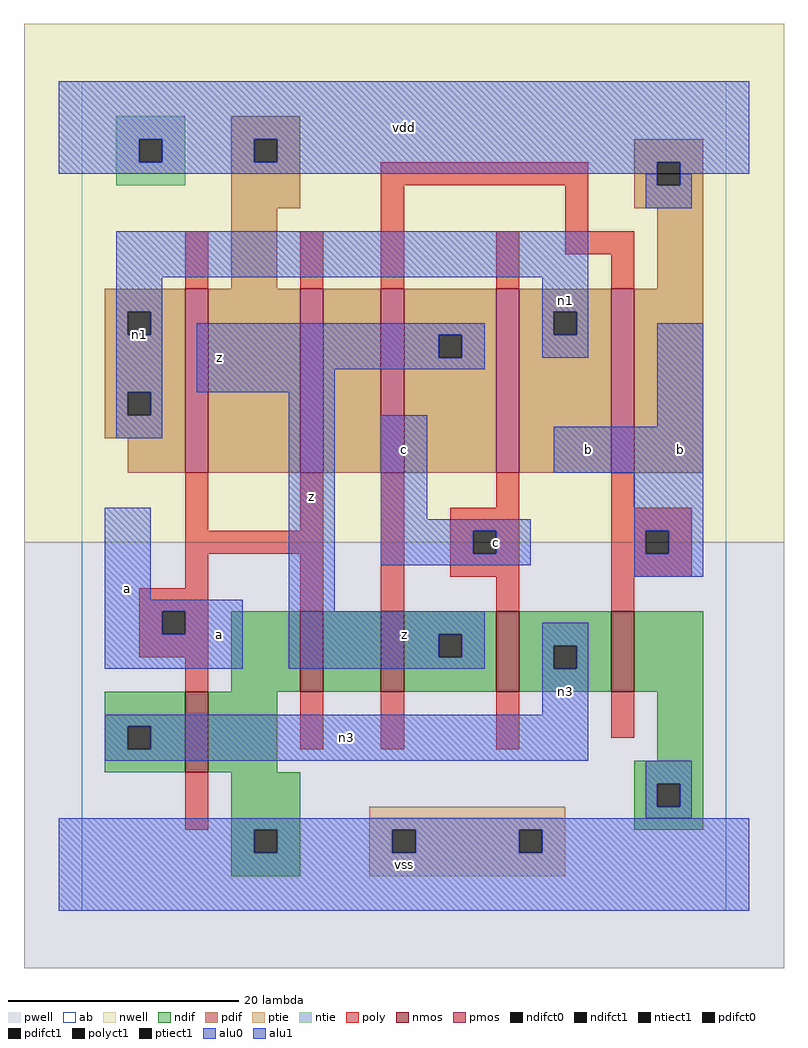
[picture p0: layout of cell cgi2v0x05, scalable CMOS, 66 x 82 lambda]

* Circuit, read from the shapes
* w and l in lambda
.subckt cgi2v0x05 a b c n1 n3 vdd vss z
M1 vss a n3 vss nfet w=7 l=2
M2 n2 a vss vss nfet w=7 l=2
M3 z b n2 vss nfet w=7 l=2
M4 n3 c z vss nfet w=7 l=2
M5 vss b n3 vss nfet w=7 l=2
M6 vdd a n1 vdd pfet w=16 l=2
M7 n4 a vdd vdd pfet w=16 l=2
M8 z b n4 vdd pfet w=16 l=2
M9 n1 c z vdd pfet w=16 l=2
M10 vdd b n1 vdd pfet w=16 l=2
.ends

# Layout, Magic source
magic
tech scmos
<< ab >>
rect 0 0 56 72
<< nwell >>
rect -5 32 61 77
<< pwell >>
rect -5 -5 61 32
<< poly >>
rect 26 63 44 65
rect 9 54 11 59
rect 19 54 21 59
rect 26 54 28 63
rect 42 59 44 63
rect 36 54 38 59
rect 42 57 48 59
rect 46 54 48 57
rect 9 33 11 38
rect 19 33 21 38
rect 9 31 21 33
rect 9 28 11 31
rect 5 26 11 28
rect 19 26 21 31
rect 26 26 28 38
rect 36 35 38 38
rect 32 33 38 35
rect 32 31 34 33
rect 36 31 38 33
rect 32 29 38 31
rect 36 26 38 29
rect 46 35 48 38
rect 46 33 53 35
rect 46 31 49 33
rect 51 31 53 33
rect 46 29 53 31
rect 46 26 48 29
rect 5 24 7 26
rect 9 24 11 26
rect 5 22 11 24
rect 9 19 11 22
rect 19 14 21 19
rect 26 14 28 19
rect 36 14 38 19
rect 46 15 48 19
rect 9 7 11 12
<< ndif >>
rect 13 19 19 26
rect 21 19 26 26
rect 28 24 36 26
rect 28 22 31 24
rect 33 22 36 24
rect 28 19 36 22
rect 38 23 46 26
rect 38 21 41 23
rect 43 21 46 23
rect 38 19 46 21
rect 48 19 54 26
rect 2 16 9 19
rect 2 14 4 16
rect 6 14 9 16
rect 2 12 9 14
rect 11 12 17 19
rect 50 13 54 19
rect 13 7 19 12
rect 48 11 54 13
rect 48 9 50 11
rect 52 9 54 11
rect 13 5 15 7
rect 17 5 19 7
rect 13 3 19 5
rect 48 7 54 9
<< pdif >>
rect 13 67 19 69
rect 13 65 15 67
rect 17 65 19 67
rect 48 65 54 67
rect 13 61 19 65
rect 13 54 17 61
rect 48 63 50 65
rect 52 63 54 65
rect 48 61 54 63
rect 50 54 54 61
rect 2 52 9 54
rect 2 50 4 52
rect 6 50 9 52
rect 2 45 9 50
rect 2 43 4 45
rect 6 43 9 45
rect 2 41 9 43
rect 4 38 9 41
rect 11 38 19 54
rect 21 38 26 54
rect 28 50 36 54
rect 28 48 31 50
rect 33 48 36 50
rect 28 38 36 48
rect 38 52 46 54
rect 38 50 41 52
rect 43 50 46 52
rect 38 38 46 50
rect 48 38 54 54
<< alu1 >>
rect -2 67 58 72
rect -2 65 5 67
rect 7 65 15 67
rect 17 65 58 67
rect -2 64 50 65
rect 52 64 58 65
rect 10 50 35 51
rect 10 48 31 50
rect 33 48 35 50
rect 10 47 35 48
rect 10 45 22 47
rect 2 27 6 35
rect 2 26 14 27
rect 2 24 7 26
rect 9 24 14 26
rect 2 21 14 24
rect 18 26 22 45
rect 26 34 30 43
rect 50 42 54 51
rect 41 38 54 42
rect 26 33 39 34
rect 26 31 34 33
rect 36 31 39 33
rect 26 30 39 31
rect 48 33 54 38
rect 48 31 49 33
rect 51 31 54 33
rect 48 29 54 31
rect 18 24 35 26
rect 18 22 31 24
rect 33 22 35 24
rect 18 21 35 22
rect -2 7 58 8
rect -2 5 15 7
rect 17 5 27 7
rect 29 5 38 7
rect 40 5 58 7
rect -2 0 58 5
<< ptie >>
rect 25 7 42 9
rect 25 5 27 7
rect 29 5 38 7
rect 40 5 42 7
rect 25 3 42 5
<< ntie >>
rect 3 67 9 69
rect 3 65 5 67
rect 7 65 9 67
rect 3 63 9 65
<< nmos >>
rect 19 19 21 26
rect 26 19 28 26
rect 36 19 38 26
rect 46 19 48 26
rect 9 12 11 19
<< pmos >>
rect 9 38 11 54
rect 19 38 21 54
rect 26 38 28 54
rect 36 38 38 54
rect 46 38 48 54
<< polyct1 >>
rect 34 31 36 33
rect 49 31 51 33
rect 7 24 9 26
<< ndifct0 >>
rect 41 21 43 23
rect 4 14 6 16
rect 50 9 52 11
<< ndifct1 >>
rect 31 22 33 24
rect 15 5 17 7
<< ntiect1 >>
rect 5 65 7 67
<< ptiect1 >>
rect 27 5 29 7
rect 38 5 40 7
<< pdifct0 >>
rect 50 63 52 64
rect 4 50 6 52
rect 4 43 6 45
rect 41 50 43 52
<< pdifct1 >>
rect 15 65 17 67
rect 50 64 52 65
rect 31 48 33 50
<< alu0 >>
rect 49 63 50 64
rect 52 63 53 64
rect 49 61 53 63
rect 3 55 44 59
rect 3 52 7 55
rect 3 50 4 52
rect 6 50 7 52
rect 40 52 44 55
rect 3 45 7 50
rect 40 50 41 52
rect 43 50 44 52
rect 40 48 44 50
rect 3 43 4 45
rect 6 43 7 45
rect 3 41 7 43
rect 40 23 44 25
rect 40 21 41 23
rect 43 21 44 23
rect 40 17 44 21
rect 2 16 44 17
rect 2 14 4 16
rect 6 14 44 16
rect 2 13 44 14
rect 49 11 53 13
rect 49 9 50 11
rect 52 9 53 11
rect 49 8 53 9
<< labels >>
rlabel alu0 5 50 5 50 6 n1
rlabel alu0 23 15 23 15 6 n3
rlabel alu0 42 19 42 19 6 n3
rlabel alu0 42 53 42 53 6 n1
rlabel alu1 4 28 4 28 6 a
rlabel alu1 12 24 12 24 6 a
rlabel alu1 20 36 20 36 6 z
rlabel alu1 12 48 12 48 6 z
rlabel alu1 28 4 28 4 6 vss
rlabel alu1 28 24 28 24 6 z
rlabel alu1 36 32 36 32 6 c
rlabel alu1 28 40 28 40 6 c
rlabel alu1 28 68 28 68 6 vdd
rlabel alu1 52 40 52 40 6 b
rlabel alu1 44 40 44 40 6 b
<< end >>
